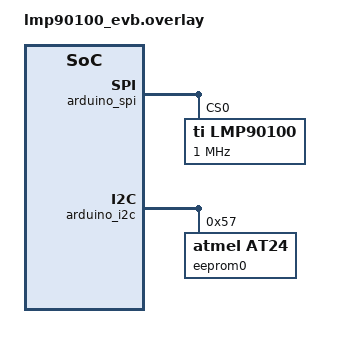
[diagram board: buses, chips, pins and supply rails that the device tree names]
/*
 * Copyright (c) 2019 Vestas Wind Systems A/S
 *
 * SPDX-License-Identifier: Apache-2.0
 */

&arduino_spi {
	status = "okay";

	lmp90100: lmp90100@0 {
		compatible = "ti,lmp90100";
		reg = <0x0>;
		spi-max-frequency = <1000000>;
		/* Uncomment to use IRQ instead of polling: */
		/* drdyb-gpios = <&arduino_header 15 GPIO_ACTIVE_LOW>; */
		#io-channel-cells = <2>;

		lmp90100_gpio: gpio {
			compatible = "ti,lmp90xxx-gpio";
			gpio-controller;
			/* Reduce to 6 if drdyb is used */
			ngpios = <7>;
			#gpio-cells = <2>;
		};
	};
};

&arduino_i2c {
	status = "okay";

	eeprom0: eeprom@57 {
		compatible = "atmel,at24";
		reg = <0x57>;
		size = <256>;
		pagesize = <8>;
		address-width = <8>;
		timeout = <5>;
	};
};
